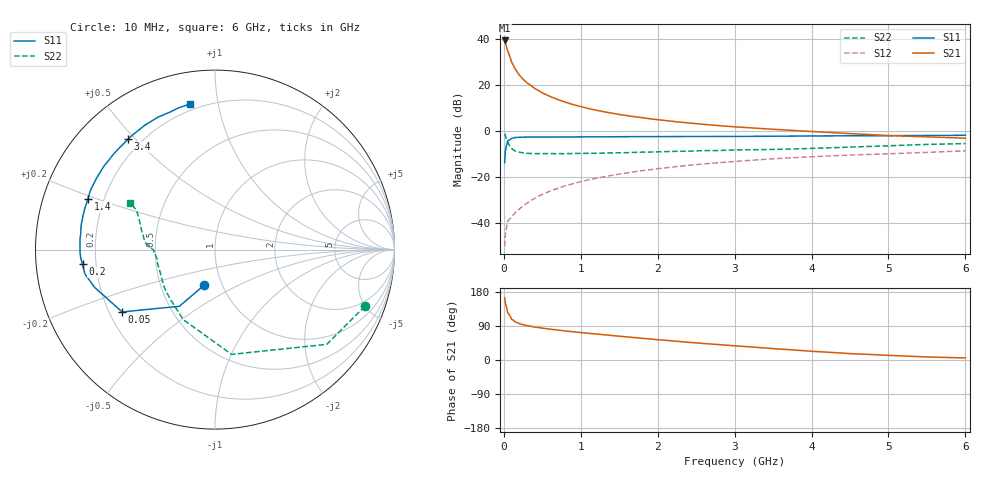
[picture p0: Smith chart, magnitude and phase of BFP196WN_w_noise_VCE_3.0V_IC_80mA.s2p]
! Infineon Technologies  Discrete & RF Semiconductors
! BFP196WN
! VCE =  3.0 V,  IC =  80 mA
! Common Emitter S-Parameters:  Jan 2017
# GHz  S  MA  R  50
!  f  S11  S21  S12  S22
! GHz  MAG  ANG  MAG  ANG  MAG  ANG  MAG  ANG
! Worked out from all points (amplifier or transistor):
!   77 points, 10 MHz to 6 GHz, reference 50 ohm
!   highest |S21| = 39.5 dB at 10 MHz (marker M1)
!   |S21| within 3 dB of that: start of sweep to 36.63 MHz
!   unconditionally stable (mu >= 1): 495.1 MHz to 2.708 GHz
!   at 130 MHz: K = 0.70, MSG = 32.2 dB, |S12| = -36.0 dB
!   at 2.2 GHz: K = 1.02, MAG = 9.1 dB, |S12| = -15.5 dB
!   at 6 GHz: K = 0.93, MSG = 2.7 dB, |S12| = -8.5 dB
!   lowest NFmin = 1.58 dB at 450 MHz
!   S11 on the Smith chart (normalised r, x): 10 MHz: 0.82, -0.34; 50 MHz: 0.25, -0.29; 200 MHz: 0.15, -0.05; 1.4 GHz: 0.14, +0.19; 3.4 GHz: 0.15, +0.48; 6 GHz: 0.17, +0.83
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0.01  0.2091 -107.2  94.63 164.7  0.0032 75.8  0.8927 -20.7
0.02  0.3735 -122.2  84.16 150.0  0.0056 67.1  0.8163 -40.3
0.05  0.6231 -146.1  56.28 124.1  0.0111 52.5  0.591 -81.0
0.1  0.7038 -162.7  32.19 107.7  0.0136 52.3  0.4285 -114.3
0.15  0.7374 -169.4  22.31 100.4  0.0172 55.9  0.3718 -132.2
0.2  0.7422 -173.7  16.89 96.1  0.0204 60.9  0.3534 -142.7
0.25  0.7494 -176.3  13.59 93.0  0.0241 63.0  0.3415 -149.1
0.3  0.7519 -178.6  11.38 90.8  0.0275 65.8  0.3335 -154.6
0.4  0.753 178.1  8.586 86.9  0.0349 68.4  0.3287 -160.6
0.5  0.7544 175.3  6.881 84.0  0.0427 70.3  0.3288 -165.0
0.6  0.7532 173.1  5.744 81.4  0.0502 70.4  0.3294 -168.1
0.7  0.7565 171.0  4.92 79.1  0.0577 72.2  0.3274 -170.4
0.9  0.7578 166.9  3.825 74.5  0.0729 71.3  0.3305 -173.3
1.1  0.7597 163.4  3.144 70.5  0.0888 70.7  0.3329 -176.0
1.4  0.7624 158.2  2.495 64.7  0.1106 68.9  0.3413 -178.6
1.7  0.7687 153.5  2.084 59.1  0.1327 67.0  0.3497 179.5
2.1  0.7708 147.3  1.721 52.0  0.1612 63.5  0.3631 177.4
3.1  0.7781 132.4  1.226 36.1  0.228 54.5  0.3965 172.5
3.4  0.7831 128.1  1.139 31.7  0.2471 51.9  0.403 170.4
4.1  0.7963 118.3  0.973 21.9  0.2856 45.6  0.4314 163.2
5.1  0.8075 107.5  0.8 11.4  0.3307 37.8  0.4931 153.3
6  0.8228 99.7  0.71 5.4  0.3775 31.7  0.5425 151.3
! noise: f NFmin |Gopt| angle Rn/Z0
0.45  1.58  0.58  -175  0.05
0.9  1.71  0.59  -168  0.07
1.9  2.67  0.7  -146  0.21
2.4  3.48  0.71  -138  0.35
